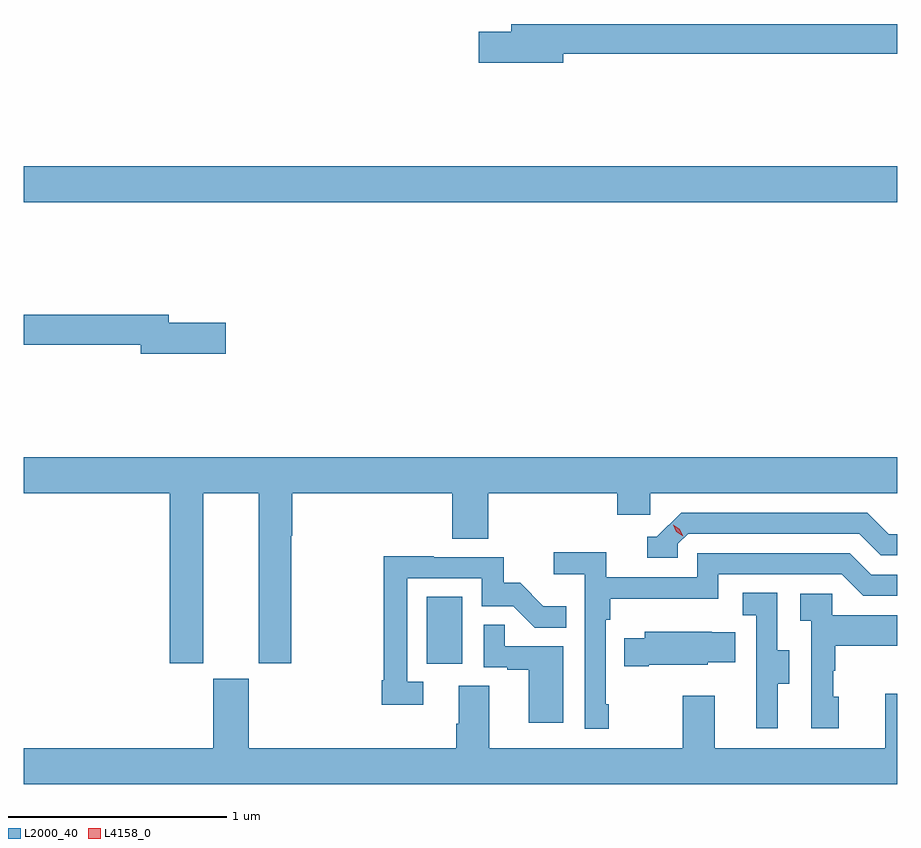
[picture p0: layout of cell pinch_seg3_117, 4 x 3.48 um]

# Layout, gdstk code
import gdstk
lib = gdstk.Library(unit=1e-6, precision=1e-09)
def R(c, l, rs):  # rectangles x0, y0, x1, y1
    for r in rs: c.add(gdstk.rectangle(r[:2], r[2:], *l))
def P(c, l, *ps):  # polygons
    for p in ps: c.add(gdstk.Polygon(p, *l))
L2000_40 = (2000, 40)
L4158_0 = (4158, 0)

pinch_seg3_117 = lib.new_cell('pinch_seg3_117')
R(pinch_seg3_117, L2000_40, [(1078.406,710.79,1078.57,711.097), (1076.561,712.904,1080.561,713.068)])
P(pinch_seg3_117, L2000_40, [(1079.032,713.584),(1080.561,713.584),(1080.561,713.72),(1078.793,713.72),(1078.793,713.684),(1078.644,713.684),(1078.644,713.542),(1079.032,713.542)],
  [(1077.487,712.352),(1077.226,712.352),(1077.226,712.388),(1076.561,712.388),(1076.561,712.252),(1077.098,712.252),(1077.098,712.21),(1077.487,712.21)],
  [(1077.382,711.572),(1077.638,711.572),(1077.638,710.793),(1077.786,710.793),(1077.786,711.376),(1077.791,711.376),(1077.791,711.572),(1078.523,711.572),(1078.523,711.364),(1078.688,711.364),(1078.688,711.572),(1079.279,711.572),(1079.279,711.474),(1079.43,711.474),(1079.43,711.572),(1080.561,711.572),(1080.561,711.736),(1076.561,711.736),(1076.561,711.572),(1077.23,711.572),(1077.23,710.793),(1077.382,710.793)],
  [(1079.556,711.339),(1079.604,711.387),(1080.387,711.387),(1080.486,711.288),(1080.561,711.288),(1080.561,711.384),(1080.523,711.384),(1080.424,711.483),(1079.571,711.483),(1079.46,711.372),(1079.417,711.372),(1079.417,711.276),(1079.556,711.276)],
  [(1079.239,710.605),(1079.226,710.605),(1079.226,710.993),(1079.246,710.993),(1079.246,711.089),(1079.742,711.089),(1079.742,711.201),(1080.306,711.201),(1080.405,711.102),(1080.561,711.102),(1080.561,711.198),(1080.442,711.198),(1080.343,711.297),(1079.646,711.297),(1079.646,711.186),(1079.228,711.186),(1079.228,711.302),(1078.989,711.302),(1078.989,711.2),(1079.13,711.2),(1079.13,710.493),(1079.239,710.493)],
  [(1078.39,710.709),(1078.317,710.709),(1078.317,711.183),(1078.659,711.183),(1078.659,711.054),(1078.803,711.054),(1078.901,710.956),(1079.045,710.956),(1079.045,711.055),(1078.941,711.055),(1078.834,711.162),(1078.758,711.162),(1078.758,711.279),(1078.439,711.279),(1078.439,711.284),(1078.209,711.284),(1078.209,710.716),(1078.201,710.716),(1078.201,710.604),(1078.39,710.604)],
  [(1080.013,710.698),(1080.067,710.698),(1080.067,710.853),(1080.012,710.853),(1080.012,711.116),(1079.853,711.116),(1079.853,711.013),(1079.916,711.013),(1079.916,710.709),(1079.915,710.709),(1079.915,710.496),(1080.013,710.496)],
  [(1080.292,710.64),(1080.267,710.64),(1080.267,710.759),(1080.277,710.759),(1080.277,710.873),(1080.561,710.873),(1080.561,711.013),(1080.264,711.013),(1080.264,711.111),(1080.117,711.111),(1080.117,710.987),(1080.168,710.987),(1080.168,710.496),(1080.292,710.496)],
  [(1079.032,710.871),(1078.763,710.871),(1078.763,710.969),(1078.668,710.969),(1078.668,710.775),(1078.775,710.775),(1078.775,710.763),(1078.874,710.763),(1078.874,710.52),(1079.032,710.52)],
  [(1079.422,710.786),(1079.694,710.786),(1079.694,710.798),(1079.819,710.798),(1079.819,710.935),(1079.711,710.935),(1079.711,710.938),(1079.405,710.938),(1079.405,710.908),(1079.311,710.908),(1079.311,710.779),(1079.422,710.779)],
  [(1080.561,710.653),(1080.506,710.653),(1080.506,710.404),(1079.725,710.404),(1079.725,710.644),(1079.578,710.644),(1079.578,710.404),(1078.693,710.404),(1078.693,710.69),(1078.553,710.69),(1078.553,710.516),(1078.541,710.516),(1078.541,710.404),(1077.592,710.404),(1077.592,710.721),(1077.428,710.721),(1077.428,710.404),(1076.561,710.404),(1076.561,710.24),(1080.561,710.24)])
P(pinch_seg3_117, L4158_0, [(1079.581,711.374),(1079.55,711.394),(1079.535,711.426),(1079.535,711.427),(1079.535,711.427),(1079.565,711.407),(1079.581,711.374),(1079.581,711.374)])

lib.write_gds('pinch_seg3_117.gds')
